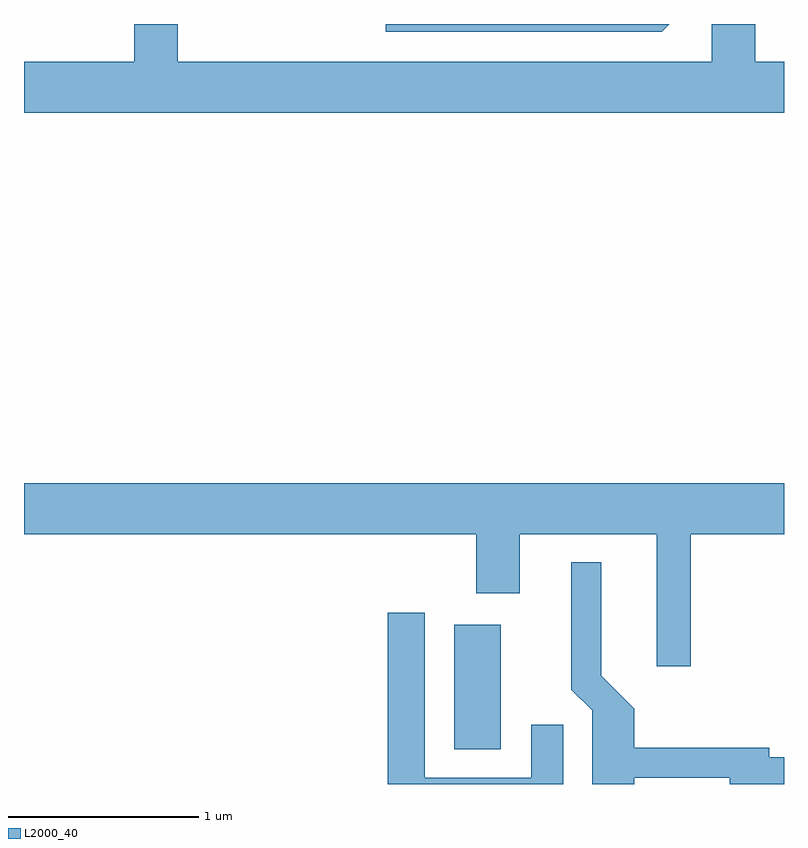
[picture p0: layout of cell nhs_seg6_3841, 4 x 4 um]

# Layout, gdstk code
import gdstk
lib = gdstk.Library(unit=1e-6, precision=1e-09)
def R(c, l, rs):  # rectangles x0, y0, x1, y1
    for r in rs: c.add(gdstk.rectangle(r[:2], r[2:], *l))
def P(c, l, *ps):  # polygons
    for p in ps: c.add(gdstk.Polygon(p, *l))
L2000_40 = (2000, 40)

nhs_seg6_3841 = lib.new_cell('nhs_seg6_3841')
R(nhs_seg6_3841, L2000_40, [(301.876,1664.346,302.119,1664.999)])
P(nhs_seg6_3841, L2000_40, [(303.611,1667.964),(303.459,1667.964),(303.459,1668.162),(303.231,1668.162),(303.231,1667.964),(300.419,1667.964),(300.419,1668.162),(300.191,1668.162),(300.191,1667.964),(299.611,1667.964),(299.611,1667.696),(303.611,1667.696)],
  [(303.008,1668.162),(301.516,1668.162),(301.516,1668.121),(302.967,1668.121)],
  [(303.119,1665.476),(303.611,1665.476),(303.611,1665.744),(299.611,1665.744),(299.611,1665.476),(301.991,1665.476),(301.991,1665.166),(302.219,1665.166),(302.219,1665.476),(302.941,1665.476),(302.941,1664.781),(303.119,1664.781)],
  [(302.824,1664.196),(303.326,1664.196),(303.326,1664.162),(303.611,1664.162),(303.611,1664.304),(303.534,1664.304),(303.534,1664.354),(302.824,1664.354),(302.824,1664.557),(302.649,1664.732),(302.649,1665.328),(302.491,1665.328),(302.491,1664.659),(302.601,1664.549),(302.601,1664.162),(302.824,1664.162)],
  [(302.449,1664.473),(302.281,1664.473),(302.281,1664.194),(301.719,1664.194),(301.719,1665.064),(301.526,1665.064),(301.526,1664.162),(302.449,1664.162)])

lib.write_gds('nhs_seg6_3841.gds')
